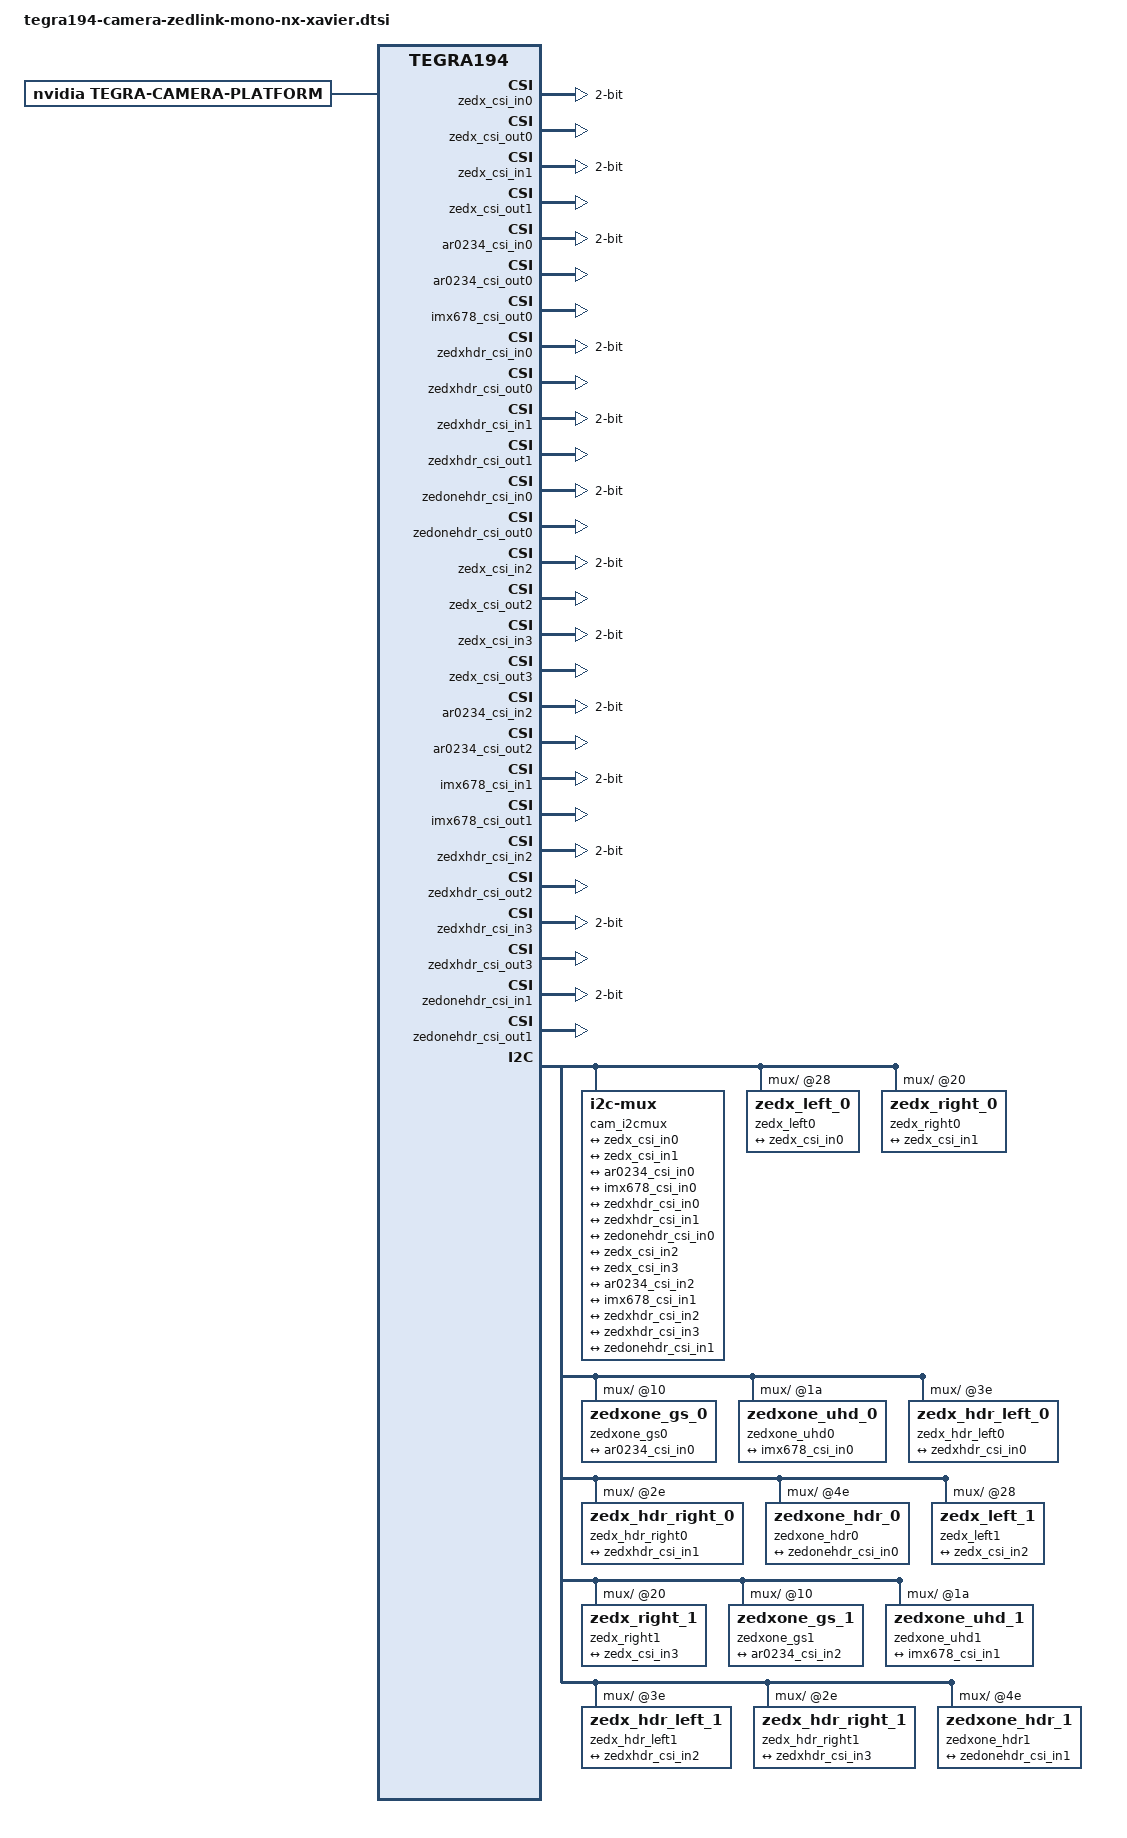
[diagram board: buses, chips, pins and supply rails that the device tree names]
// SPDX-License-Identifier: GPL-2.0-only
// SPDX-FileCopyrightText: Copyright (c) 2023-2024, NVIDIA CORPORATION & AFFILIATES. All rights reserved.

#include "../../../Utils/isx031-sl-modes.dtsi"
#include "../../../Utils/ar0234-sl-modes.dtsi"
#include "../../../Utils/imx678-sl-modes.dtsi"

#define NUM_LANES 2

/ {
	
	tegra-capture-vi {
		num-channels = <14>;
		ports {
			#address-cells = <1>;
			#size-cells = <0>;
			port@0 {
				reg = <0>;
				status = "okay";
				zedx_vi_in0: endpoint {
					status = "okay";
					vc-id = <0>;
					port-index = <0>;
					bus-width = <NUM_LANES>;
					remote-endpoint = <&zedx_csi_out0>;
				};
			};
			port@1 {
				status = "okay";
				reg = <1>;
				zedx_vi_in1: endpoint {
					status = "okay";
					vc-id = <1>;
					port-index = <0>;
					bus-width = <NUM_LANES>;
					remote-endpoint = <&zedx_csi_out1>;
				};
			};
			port@2 {
				status = "okay";
				reg = <2>;
				ar0234_vi_in0: endpoint {
					status = "okay";
					vc-id = <0>;
					port-index = <0>;
					bus-width = <NUM_LANES>;
					remote-endpoint = <&ar0234_csi_out0>;
				};
			};
			port@3 {
				status = "okay";
				reg = <3>;
				imx678_vi_in0: endpoint {
					status = "okay";
					port-index = <0>;
					bus-width = <NUM_LANES>;
					remote-endpoint = <&imx678_csi_out0>;
				};
			};
			port@4 {
				reg = <4>;
				status = "okay";
				zedxhdr_vi_in0: endpoint {
					status = "okay";
					vc-id = <0>;
					port-index = <0>;
					bus-width = <NUM_LANES>;
					remote-endpoint = <&zedxhdr_csi_out0>;
				};
			};
			port@5 {
				reg = <5>;
				status = "okay";
				zedxhdr_vi_in1: endpoint {
					status = "okay";
					vc-id = <1>;
					port-index = <0>;
					bus-width = <NUM_LANES>;
					remote-endpoint = <&zedxhdr_csi_out1>;
				};
			};
			port@6 {
				reg = <6>;
				status = "okay";
				zedonehdr_vi_in0: endpoint {
					status = "okay";
					vc-id = <0>;
					port-index = <0>;
					bus-width = <NUM_LANES>;
					remote-endpoint = <&zedonehdr_csi_out0>;
				};
			};
			port@7 {
				reg = <7>;
				status = "okay";
				zedx_vi_in2: endpoint {
					status = "okay";
					vc-id = <0>;
					port-index = <2>;
					bus-width = <NUM_LANES>;
					remote-endpoint = <&zedx_csi_out2>;
				};
			};
			port@8 {
				reg = <8>;
				status = "okay";
				zedx_vi_in3: endpoint {
					status = "okay";
					vc-id = <1>;
					port-index = <2>;
					bus-width = <NUM_LANES>;
					remote-endpoint = <&zedx_csi_out3>;
				};
			};
			port@9 {
				reg = <9>;
				status = "okay";
				ar0234_vi_in2: endpoint {
					status = "okay";
					vc-id = <0>;
					port-index = <2>;
					bus-width = <NUM_LANES>;
					remote-endpoint = <&ar0234_csi_out2>;
				};
			};
			port@10 {
				reg = <10>;
				status = "okay";
				imx678_vi_in1: endpoint {
					status = "okay";
					port-index = <2>;
					bus-width = <NUM_LANES>;
					remote-endpoint = <&imx678_csi_out1>;
				};
			};
			port@11 {
				reg = <11>;
				status = "okay";
				zedxhdr_vi_in2: endpoint {
					status = "okay";
					vc-id = <0>;
					port-index = <2>;
					bus-width = <NUM_LANES>;
					remote-endpoint = <&zedxhdr_csi_out2>;
				};
			};
			port@12 {
				reg = <12>;
				status = "okay";
				zedxhdr_vi_in3: endpoint {
					status = "okay";
					vc-id = <1>;
					port-index = <2>;
					bus-width = <NUM_LANES>;
					remote-endpoint = <&zedxhdr_csi_out3>;
				};
			};
			port@13 {
				reg = <13>;
				status = "okay";
				zedonehdr_vi_in1: endpoint {
					status = "okay";
					vc-id = <0>;
					port-index = <2>;
					bus-width = <NUM_LANES>;
					remote-endpoint = <&zedonehdr_csi_out1>;
				};
			};
		};
	};
	
	host1x@13e00000 {
		nvcsi@15a00000 {
			num-channels = <14>;
			#address-cells = <1>;
			#size-cells = <0>;
			channel@0 {
				reg = <0>;
				status = "okay";
				ports {
					#address-cells = <1>;
					#size-cells = <0>;
					port@0 {
						reg = <0>;
						status = "okay";
						zedx_csi_in0: endpoint@0 {
							status = "okay";
							port-index = <0>;
							bus-width = <NUM_LANES>;
							remote-endpoint = <&zedx_ar0234_out0>;
						};
					};
					port@1 {
						reg = <1>;
						status = "okay";
						zedx_csi_out0: endpoint@1 {
							status = "okay";
							remote-endpoint = <&zedx_vi_in0>;
						};
					};
				};
			};
			channel@1 {
				reg = <1>;
				status = "okay";
				ports {
					#address-cells = <1>;
					#size-cells = <0>;
					port@0 {
						reg = <0>;
						status = "okay";
						zedx_csi_in1: endpoint@2 {
							status = "okay";
							port-index = <0>;
							bus-width = <NUM_LANES>;
							remote-endpoint = <&zedx_ar0234_out1>;
						};
					};
					port@1 {
						reg = <1>;
						status = "okay";
						zedx_csi_out1: endpoint@3 {
							status = "okay";
							remote-endpoint = <&zedx_vi_in1>;
						};
					};
				};
			};
			channel@2 {
				reg = <2>;
				status = "okay";
				ports {
					#address-cells = <1>;
					#size-cells = <0>;
					port@0 {
						reg = <0>;
						status = "okay";
						ar0234_csi_in0: endpoint@4 {
							status = "okay";
							port-index = <0>;
							bus-width = <NUM_LANES>;
							remote-endpoint = <&ar0234_ar0234_out0>;
						};
					};
					port@1 {
						reg = <1>;
						status = "okay";
						ar0234_csi_out0: endpoint@5 {
							status = "okay";
							remote-endpoint = <&ar0234_vi_in0>;
						};
					};
				};
			};
			channel@3 {
				reg = <3>;
				status = "okay";
				ports {
					#address-cells = <1>;
					#size-cells = <0>;
					port@0 {
						reg = <0>;
						status = "okay";
						imx678_csi_in0: endpoint@6 {
							port-index = <0>;
							bus-width = <NUM_LANES>;
							remote-endpoint = <&imx678_imx678_out0>;
						};
					};
					port@1 {
						reg = <1>;
						status = "okay";
						imx678_csi_out0: endpoint@7 {
							status = "okay";
							remote-endpoint = <&imx678_vi_in0>;
						};
					};
				};
			};
			channel@4 {
				reg = <4>;
				status = "okay";
				ports {
					#address-cells = <1>;
					#size-cells = <0>;
					port@0 {
						reg = <0>;
						status = "okay";
						zedxhdr_csi_in0: endpoint@8 {
							status = "okay";
							port-index = <0>;
							bus-width = <NUM_LANES>;
							remote-endpoint = <&zedxhdr_isx031_out0>;
						};
					};
					port@1 {
						reg = <1>;
						status = "okay";
						zedxhdr_csi_out0: endpoint@9 {
							status = "okay";
							remote-endpoint = <&zedxhdr_vi_in0>;
						};
					};
				};
			};
			channel@5 {
				reg = <5>;
				status = "okay";
				ports {
					#address-cells = <1>;
					#size-cells = <0>;
					port@0 {
						reg = <0>;
						status = "okay";
						zedxhdr_csi_in1: endpoint@10 {
							status = "okay";
							port-index = <0>;
							bus-width = <NUM_LANES>;
							remote-endpoint = <&zedxhdr_isx031_out1>;
						};
					};
					port@1 {
						reg = <1>;
						status = "okay";
						zedxhdr_csi_out1: endpoint@11 {
							status = "okay";
							remote-endpoint = <&zedxhdr_vi_in1>;
						};
					};
				};
			};
			channel@6 {
				reg = <6>;
				status = "okay";
				ports {
					#address-cells = <1>;
					#size-cells = <0>;
					port@0 {
						reg = <0>;
						status = "okay";
						zedonehdr_csi_in0: endpoint@12 {
							status = "okay";
							port-index = <0>;
							bus-width = <NUM_LANES>;
							remote-endpoint = <&zedonehdr_isx031_out0>;
						};
					};
					port@1 {
						reg = <1>;
						status = "okay";
						zedonehdr_csi_out0: endpoint@13 {
							status = "okay";
							remote-endpoint = <&zedonehdr_vi_in0>;
						};
					};
				};
			};
			channel@7 {
				reg = <7>;
				status = "okay";
				ports {
					#address-cells = <1>;
					#size-cells = <0>;
					port@0 {
						reg = <0>;
						status = "okay";
						zedx_csi_in2: endpoint@14 {
							status = "okay";
							port-index = <2>;
							bus-width = <NUM_LANES>;
							remote-endpoint = <&zedx_ar0234_out2>;
						};
					};
					port@1 {
						reg = <1>;
						status = "okay";
						zedx_csi_out2: endpoint@15 {
							status = "okay";
							remote-endpoint = <&zedx_vi_in2>;
						};
					};
				};
			};
			channel@8 {
				reg = <8>;
				status = "okay";
				ports {
					#address-cells = <1>;
					#size-cells = <0>;
					port@0 {
						reg = <0>;
						status = "okay";
						zedx_csi_in3: endpoint@16 {
							status = "okay";
							port-index = <2>;
							bus-width = <NUM_LANES>;
							remote-endpoint = <&zedx_ar0234_out3>;
						};
					};
					port@1 {
						reg = <1>;
						status = "okay";
						zedx_csi_out3: endpoint@17 {
							status = "okay";
							remote-endpoint = <&zedx_vi_in3>;
						};
					};
				};
			};
			channel@9 {
				reg = <9>;
				status = "okay";
				ports {
					#address-cells = <1>;
					#size-cells = <0>;
					port@0 {
						reg = <0>;
						status = "okay";
						ar0234_csi_in2: endpoint@18 {
							status = "okay";
							port-index = <2>;
							bus-width = <NUM_LANES>;
							remote-endpoint = <&ar0234_ar0234_out2>;
						};
					};
					port@1 {
						reg = <1>;
						status = "okay";
						ar0234_csi_out2: endpoint@19 {
							status = "okay";
							remote-endpoint = <&ar0234_vi_in2>;
						};
					};
				};
			};
			channel@10 {
				reg = <10>;
				status = "okay";
				ports {
					#address-cells = <1>;
					#size-cells = <0>;
					port@0 {
						reg = <0>;
						status = "okay";
						imx678_csi_in1: endpoint@20 {
							status = "okay";
							port-index = <2>;
							bus-width = <NUM_LANES>;
							remote-endpoint = <&imx678_imx678_out1>;
						};
					};
					port@1 {
						reg = <1>;
						status = "okay";
						imx678_csi_out1: endpoint@21 {
							status = "okay";
							remote-endpoint = <&imx678_vi_in1>;
						};
					};
				};
			};
			channel@11 {
				reg = <11>;
				status = "okay";
				ports {
					#address-cells = <1>;
					#size-cells = <0>;
					port@0 {
						reg = <0>;
						status = "okay";
						zedxhdr_csi_in2: endpoint@22 {
							status = "okay";
							port-index = <2>;
							bus-width = <NUM_LANES>;
							remote-endpoint = <&zedxhdr_isx031_out2>;
						};
					};
					port@1 {
						reg = <1>;
						status = "okay";
						zedxhdr_csi_out2: endpoint@23 {
							status = "okay";
							remote-endpoint = <&zedxhdr_vi_in2>;
						};
					};
				};
			};
			channel@12 {
				reg = <12>;
				status = "okay";
				ports {
					#address-cells = <1>;
					#size-cells = <0>;
					port@0 {
						reg = <0>;
						status = "okay";
						zedxhdr_csi_in3: endpoint@24 {
							status = "okay";
							port-index = <2>;
							bus-width = <NUM_LANES>;
							remote-endpoint = <&zedxhdr_isx031_out3>;
						};
					};
					port@1 {
						reg = <1>;
						status = "okay";
						zedxhdr_csi_out3: endpoint@25 {
							status = "okay";
							remote-endpoint = <&zedxhdr_vi_in3>;
						};
					};
				};
			};
			channel@13 {
				reg = <13>;
				status = "okay";
				ports {
					#address-cells = <1>;
					#size-cells = <0>;
					port@0 {
						reg = <0>;
						status = "okay";
						zedonehdr_csi_in1: endpoint@26 {
							status = "okay";
							port-index = <2>;
							bus-width = <NUM_LANES>;
							remote-endpoint = <&zedonehdr_isx031_out1>;
						};
					};
					port@1 {
						reg = <1>;
						status = "okay";
						zedonehdr_csi_out1: endpoint@27 {
							status = "okay";
							remote-endpoint = <&zedonehdr_vi_in1>;
						};
					};
				};
			};
		};
	};
	
	
	cam_i2cmux{
		i2c@0 {
						
			/* ZEDX 0 left camera sensor */
			zedx_left0: zedx_left_0@28 {
				
				devnode = "video0";
				
				sync_sensor = "ZED_CAM0";
				sync_sensor_index = <1>;

				AR0234_MODES("0", "serial_a", "0")
				
				ports {
					#address-cells = <1>;
					#size-cells = <0>;
					port@0 {
						reg = <0>;
						zedx_ar0234_out0: endpoint {
							vc-id = <0>;
							port-index = <0>;
							opt-csi-port = "a";
							bus-width = <NUM_LANES>;
							remote-endpoint = <&zedx_csi_in0>;
						};
					};
				};
			};
			
			/* ZEDX 0 right camera sensor */
			zedx_right0: zedx_right_0@20 {
				
				devnode = "video2";
				
				sync_sensor = "ZED_CAM0";
				sync_sensor_index = <2>;

				AR0234_MODES("1", "serial_a", "0")
				
				ports {
					#address-cells = <1>;
					#size-cells = <0>;
					port@0 {
						reg = <0>;
						zedx_ar0234_out1: endpoint {
							vc-id = <1>;
							port-index = <0>;
							opt-csi-port = "a";
							bus-width = <NUM_LANES>;
							remote-endpoint = <&zedx_csi_in1>;
						};
					};
				};
			};
			
			zedxone_gs0: zedxone_gs_0@10 {
				
				devnode = "video4";
				
				sync_sensor = "ZEDXONE_CAM0";
				sync_sensor_index = <1>;
				
				AR0234_MODES("0", "serial_a", "0")
											
				ports {
					#address-cells = <1>;
					#size-cells = <0>;
					port@0 {
						reg = <0>;
						ar0234_ar0234_out0: endpoint {
							vc-id = <0>;
							port-index = <0>;
							opt-csi-port = "a";
							bus-width = <NUM_LANES>;
							remote-endpoint = <&ar0234_csi_in0>;
						};
					};
				};
			};
			
			
			/* ZEDX One UHD 0 camera sensor */
			zedxone_uhd0:zedxone_uhd_0@1a {
				
				devnode = "video6";
				
				sync_sensor = "ZEDXONE_CAM2";
				sync_sensor_index = <1>;

				IMX678_MODES("0", "serial_a", "0")
				
				ports {
					#address-cells = <1>;
					#size-cells = <0>;
					port@0 {
						reg = <0>;
						imx678_imx678_out0: endpoint {
							vc-id = <0>;
							port-index = <0>;
							opt-csi-port = "a";
							bus-width = <NUM_LANES>;
							remote-endpoint = <&imx678_csi_in0>;
						};
					};
				};
			};
			
			zedx_hdr_left0: zedx_hdr_left_0@3e {
				
				devnode = "video8";
				
				sync_sensor = "ZED_CAM2";
				sync_sensor_index = <1>;
				
				ISX031_MODES("0", "serial_a", "0")

				ports {
					#address-cells = <1>;
					#size-cells = <0>;
					port@0 {
						reg = <0>;
						zedxhdr_isx031_out0: endpoint {
							vc-id = <0>;
							port-index = <0>;
							opt-csi-port = "a";
							bus-width = <NUM_LANES>;
							remote-endpoint = <&zedxhdr_csi_in0>;
						};
					};
				};
			};
			
			zedx_hdr_right0: zedx_hdr_right_0@2e {
				
				devnode = "video10";
				
				sync_sensor = "ZED_CAM2";
				sync_sensor_index = <2>;
				
				ISX031_MODES("1", "serial_a", "0")

				ports {
					#address-cells = <1>;
					#size-cells = <0>;
					port@0 {
						reg = <0>;
						zedxhdr_isx031_out1: endpoint {
							vc-id = <1>;
							port-index = <0>;
							opt-csi-port = "a";
							bus-width = <NUM_LANES>;
							remote-endpoint = <&zedxhdr_csi_in1>;
						};
					};
				};
			};
			
			zedxone_hdr0: zedxone_hdr_0@4e {
				
				devnode = "video12";
				
				sync_sensor = "ZEDXONE_CAM4";
				sync_sensor_index = <1>;
				
				ISX031_MODES("0", "serial_a", "0")
				
				ports {
					#address-cells = <1>;
					#size-cells = <0>;
					port@0 {
						reg = <0>;
						zedonehdr_isx031_out0: endpoint {
							vc-id = <0>;
							port-index = <0>;
							opt-csi-port = "a";
							bus-width = <NUM_LANES>;
							remote-endpoint = <&zedonehdr_csi_in0>;
						};
					};
				};
			};
		};
		
		i2c@1 {
						
			/* ZEDX 1 left camera sensor */
			zedx_left1: zedx_left_1@28 {
				
				devnode = "video1";
				
				sync_sensor = "ZED_CAM1";
				sync_sensor_index = <1>;
				
				AR0234_MODES("0", "serial_c", "0")

				ports {
					#address-cells = <1>;
					#size-cells = <0>;
					port@0 {
						reg = <0>;
						zedx_ar0234_out2: endpoint {
							vc-id = <0>;
							port-index = <2>;
							opt-csi-port = "a";
							bus-width = <NUM_LANES>;
							remote-endpoint = <&zedx_csi_in2>;
						};
					};
				};
			};
			
			/* ZEDX 1 right camera sensor */
			zedx_right1: zedx_right_1@20 {
				
				devnode = "video3";
				
				sync_sensor = "ZED_CAM1";
				sync_sensor_index = <2>;
				
				AR0234_MODES("1", "serial_c", "0")

				ports {
					#address-cells = <1>;
					#size-cells = <0>;
					port@0 {
						reg = <0>;
						zedx_ar0234_out3: endpoint {
							vc-id = <1>;
							port-index = <2>;
							opt-csi-port = "a";
							bus-width = <NUM_LANES>;
							remote-endpoint = <&zedx_csi_in3>;
						};
					};
				};
			};
			
			/* ZEDX 1 left camera sensor */
			zedxone_gs1:zedxone_gs_1@10 {
				
				devnode = "video5";
				
				sync_sensor = "ZEDXONE_CAM1";
				sync_sensor_index = <1>;
				
				AR0234_MODES("0", "serial_c", "0")
				
				ports {
					#address-cells = <1>;
					#size-cells = <0>;
					port@0 {
						reg = <0>;
						ar0234_ar0234_out2: endpoint {
							vc-id = <0>;
							port-index = <2>;
							opt-csi-port = "a";
							bus-width = <NUM_LANES>;
							remote-endpoint = <&ar0234_csi_in2>;
						};
					};
				};
			};
			
			
			/* ZEDX ONE UHD 1 camera sensor */
			zedxone_uhd1:zedxone_uhd_1@1a {
				
				devnode = "video7";
				
				sync_sensor = "ZEDXONE_CAM3";
				sync_sensor_index = <1>;
				
				IMX678_MODES("0", "serial_c", "0")

				ports {
					#address-cells = <1>;
					#size-cells = <0>;
					port@0 {
						reg = <0>;
						imx678_imx678_out1: endpoint {
							vc-id = <0>;
							port-index = <2>;
							opt-csi-port = "a";
							bus-width = <NUM_LANES>;
							remote-endpoint = <&imx678_csi_in1>;
						};
					};
				};
			};
			
			zedx_hdr_left1: zedx_hdr_left_1@3e {
				
				devnode = "video9";
				
				sync_sensor = "ZED_CAM3";
				sync_sensor_index = <1>;
				
				ISX031_MODES("0", "serial_c", "0")
											
				ports {
					#address-cells = <1>;
					#size-cells = <0>;
					port@0 {
						reg = <0>;
						zedxhdr_isx031_out2: endpoint {
							vc-id = <0>;
							port-index = <2>;
							opt-csi-port = "a";
							bus-width = <NUM_LANES>;
							remote-endpoint = <&zedxhdr_csi_in2>;
						};
					};
				};
			};
			
			zedx_hdr_right1: zedx_hdr_right_1@2e {
				
				devnode = "video11";
				
				sync_sensor = "ZED_CAM3";
				sync_sensor_index = <2>;
				
				ISX031_MODES("1", "serial_c", "0")

				ports {
					#address-cells = <1>;
					#size-cells = <0>;
					port@0 {
						reg = <0>;
						zedxhdr_isx031_out3: endpoint {
							vc-id = <1>;
							port-index = <2>;
							opt-csi-port = "a";
							bus-width = <NUM_LANES>;
							remote-endpoint = <&zedxhdr_csi_in3>;
						};
					};
				};
			};
			
			zedxone_hdr1: zedxone_hdr_1@4e {
				
				devnode = "video13";
				
				sync_sensor = "ZEDXONE_CAM5";
				sync_sensor_index = <1>;
				
				ISX031_MODES("0", "serial_c", "0")

				ports {
					#address-cells = <1>;
					#size-cells = <0>;
					port@0 {
						reg = <0>;
						zedonehdr_isx031_out1: endpoint {
							vc-id = <0>;
							port-index = <2>;
							opt-csi-port = "a";
							bus-width = <NUM_LANES>;
							remote-endpoint = <&zedonehdr_csi_in1>;
						};
					};
				};
			};
		};
	};
	
	tegra-camera-platform {
		compatible = "nvidia, tegra-camera-platform";
		/**
		* Physical settings to calculate max ISO BW
		*
		* num_csi_lanes = <>;
		* Total number of CSI lanes when all cameras are active
		*
		* max_lane_speed = <>;
		* Max lane speed in Kbit/s
		*
		* min_bits_per_pixel = <>;
		* Min bits per pixel
		*
		* vi_peak_byte_per_pixel = <>;
		* Max byte per pixel for the VI ISO case
		*
		* vi_bw_margin_pct = <>;
		* Vi bandwidth margin in percentage
		*
		* max_pixel_rate = <>;
		* Max pixel rate in Kpixel/s for the ISP ISO case
		*
		* isp_peak_byte_per_pixel = <>;
		* Max byte per pixel for the ISP ISO case
		*
		* isp_bw_margin_pct = <>;
		* Isp bandwidth margin in percentage
		*/
		num_csi_lanes = <4>;
		max_lane_speed = <2000000>;
		min_bits_per_pixel = <8>;
		vi_peak_byte_per_pixel = <2>;
		vi_bw_margin_pct = <25>;
		isp_peak_byte_per_pixel = <5>;
		isp_bw_margin_pct = <25>;
		
		/**
		* The general guideline for naming badge_info contains 3 parts, and is as follows,
		* The first part is the camera_board_id for the module; if the module is in a FFD
		* platform, then use the platform name for this part.
		* The second part contains the position of the module, ex. "rear" or "front".
		* The third part contains the last 6 characters of a part number which is found
		* in the module's specsheet from the vender.
		*/
		modules {
			module00 {
				badge = "zedx_ar0234";
				position = "front";
				orientation = "1";
				status = "okay";
				drivernode0 {
					status = "okay";
					/* Declare PCL support driver (classically known as guid)  */
					pcl_id = "v4l2_sensor";
					/* Driver v4l2 device name */
					devname = "zedx 9-0028";
					/* Declare the device-tree hierarchy to driver instance */
					proc-device-tree = "/proc/device-tree/cam_i2cmux/i2c@0/zedx_left_0@28";
				};
			};
			module01 {
				badge = "zedx_ar0234";
				position = "front";
				orientation = "1";
				status = "okay";
				drivernode0 {
					status = "okay";
					/* Declare PCL support driver (classically known as guid)  */
					pcl_id = "v4l2_sensor";
					/* Driver v4l2 device name */
					devname = "zedx 9-0020";
					/* Declare the device-tree hierarchy to driver instance */
					proc-device-tree = "/proc/device-tree/cam_i2cmux/i2c@0/zedx_right_0@20";
				};
			};
			module02 {
				badge = "zedx_ar0234";
				position = "front";
				orientation = "1";
				status = "okay";
				drivernode0 {
					status = "okay";
					/* Declare PCL support driver (classically known as guid)  */
					pcl_id = "v4l2_sensor";
					/* Driver v4l2 device name */
					devname = "zedx 9-0010";
					/* Declare the device-tree hierarchy to driver instance */
					proc-device-tree = "/proc/device-tree/cam_i2cmux/i2c@0/zedxone_gs_0@10";
				};
			};
			module03 {
				badge = "zedx_imx678";
				position = "front";
				orientation = "1";
				status = "okay";
				drivernode0 {
					status = "okay";
					/* Declare PCL support driver (classically known as guid)  */
					pcl_id = "v4l2_sensor";
					/* Driver v4l2 device name */
					devname = "zedxone_uhd 9-001a";
					/* Declare the device-tree hierarchy to driver instance */
					proc-device-tree = "/proc/device-tree/cam_i2cmux/i2c@0/zedxone_uhd_0@1a";
				};
			};
			module04 {
				badge = "zedx_ar0234";
				position = "front";
				orientation = "1";
				status = "okay";
				drivernode0 {
					status = "okay";
					/* Declare PCL support driver (classically known as guid)  */
					pcl_id = "v4l2_sensor";
					/* Driver v4l2 device name */
					devname = "zedx 10-0028";
					/* Declare the device-tree hierarchy to driver instance */
					proc-device-tree = "/proc/device-tree/cam_i2cmux/i2c@1/zedx_left_1@28";
				};
			};
			module05 {
				badge = "zedx_ar0234";
				position = "front";
				orientation = "1";
				status = "okay";
				drivernode0 {
					status = "okay";
					/* Declare PCL support driver (classically known as guid)  */
					pcl_id = "v4l2_sensor";
					/* Driver v4l2 device name */
					devname = "zedx 10-0020";
					/* Declare the device-tree hierarchy to driver instance */
					proc-device-tree = "/proc/device-tree/cam_i2cmux/i2c@1/zedx_right_1@20";
				};
			};
			module06 {
				badge = "zedx_ar0234";
				position = "front";
				orientation = "1";
				status = "okay";
				drivernode0 {
					status = "okay";
					/* Declare PCL support driver (classically known as guid)  */
					pcl_id = "v4l2_sensor";
					/* Driver v4l2 device name */
					devname = "zedx 10-0010";
					/* Declare the device-tree hierarchy to driver instance */
					proc-device-tree = "/proc/device-tree/cam_i2cmux/i2c@1/zedxone_gs_1@10";
				};
			};
			module07 {
				badge = "zedx_imx678";
				position = "front";
				orientation = "1";
				status = "okay";
				drivernode0 {
					status = "okay";
					/* Declare PCL support driver (classically known as guid)  */
					pcl_id = "v4l2_sensor";
					/* Driver v4l2 device name */
					devname = "zedxone_uhd 10-001a";
					/* Declare the device-tree hierarchy to driver instance */
					proc-device-tree = "/proc/device-tree/cam_i2cmux/i2c@1/zedxone_uhd_1@1a";
				};
			};
		};
	};
};
